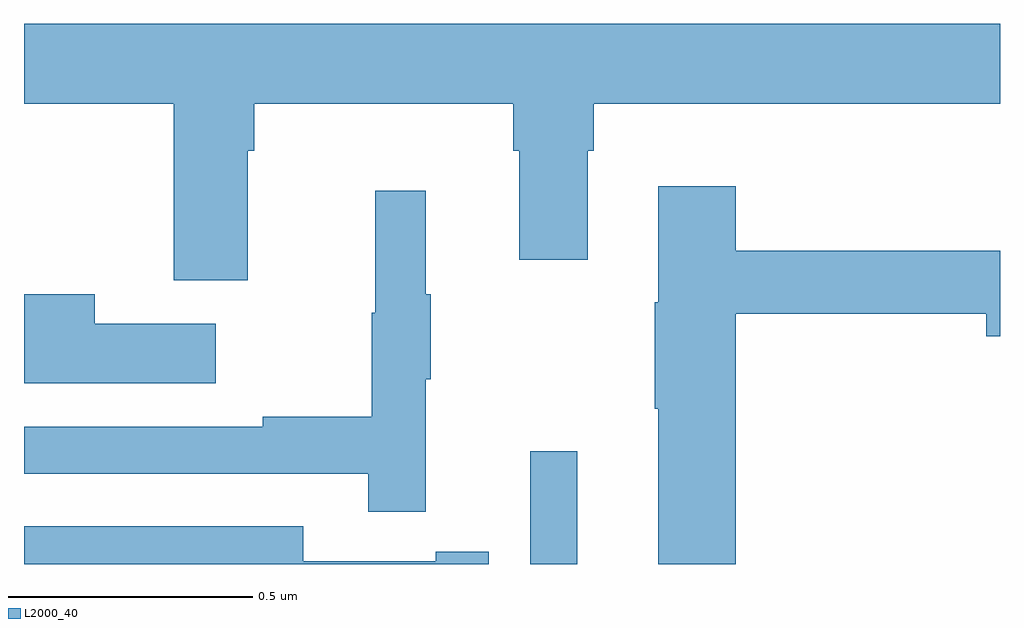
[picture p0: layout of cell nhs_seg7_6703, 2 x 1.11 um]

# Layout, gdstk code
import gdstk
lib = gdstk.Library(unit=1e-6, precision=1e-09)
def R(c, l, rs):  # rectangles x0, y0, x1, y1
    for r in rs: c.add(gdstk.rectangle(r[:2], r[2:], *l))
def P(c, l, *ps):  # polygons
    for p in ps: c.add(gdstk.Polygon(p, *l))
L2000_40 = (2000, 40)

nhs_seg7_6703 = lib.new_cell('nhs_seg7_6703')
R(nhs_seg7_6703, L2000_40, [(203.037,1005,203.134,1005.232)])
P(nhs_seg7_6703, L2000_40, [(202.459,1005.848),(202.472,1005.848),(202.472,1005.944),(203.003,1005.944),(203.003,1005.848),(203.015,1005.848),(203.015,1005.624),(203.155,1005.624),(203.155,1005.848),(203.168,1005.848),(203.168,1005.944),(204,1005.944),(204,1006.108),(202,1006.108),(202,1005.944),(202.307,1005.944),(202.307,1005.582),(202.459,1005.582)],
  [(203.459,1005.514),(203.972,1005.514),(203.972,1005.467),(204,1005.467),(204,1005.643),(203.459,1005.643),(203.459,1005.775),(203.3,1005.775),(203.3,1005.537),(203.293,1005.537),(203.293,1005.319),(203.3,1005.319),(203.3,1005),(203.459,1005)],
  [(202.823,1005.379),(202.834,1005.379),(202.834,1005.553),(202.823,1005.553),(202.823,1005.766),(202.72,1005.766),(202.72,1005.516),(202.713,1005.516),(202.713,1005.302),(202.489,1005.302),(202.489,1005.282),(202,1005.282),(202,1005.186),(202.705,1005.186),(202.705,1005.108),(202.823,1005.108)],
  [(202.393,1005.493),(202.145,1005.493),(202.145,1005.553),(202,1005.553),(202,1005.371),(202.393,1005.371)],
  [(202.952,1005.026),(202.844,1005.026),(202.844,1005.006),(202.572,1005.006),(202.572,1005.078),(202,1005.078),(202,1005),(202.952,1005)])

lib.write_gds('nhs_seg7_6703.gds')
